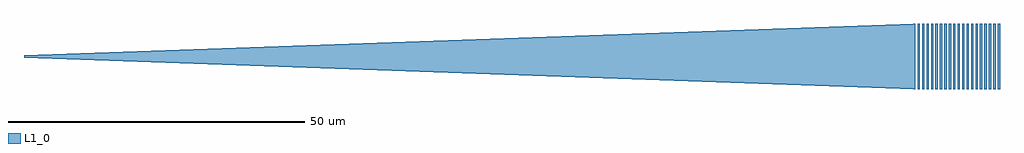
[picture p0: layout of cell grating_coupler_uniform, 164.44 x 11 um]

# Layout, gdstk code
import gdstk
lib = gdstk.Library(unit=1e-6, precision=1e-09)
def R(c, l, rs):  # rectangles x0, y0, x1, y1
    for r in rs: c.add(gdstk.rectangle(r[:2], r[2:], *l))
def P(c, l, *ps):  # polygons
    for p in ps: c.add(gdstk.Polygon(p, *l))
L1_0 = (1, 0)

taper_layer1_0_length15_ = lib.new_cell('taper_layer1_0_length15_20a1ddb0')
P(taper_layer1_0_length15_, L1_0, [(0,0.25),(150,5.5),(150,-5.5),(0,-0.25)])

rectangle_layer1_0_size3 = lib.new_cell('rectangle_layer1_0_size375n_11')
R(rectangle_layer1_0_size3, L1_0, [(0,0,0.375,11)])

grating_coupler_uniform = lib.new_cell('grating_coupler_uniform')
grating_coupler_uniform.add(gdstk.Reference(taper_layer1_0_length15_, (0,0)))
grating_coupler_uniform.add(gdstk.Reference(rectangle_layer1_0_size3, (149.812,-5.5)))
grating_coupler_uniform.add(gdstk.Reference(rectangle_layer1_0_size3, (150.562,-5.5)))
grating_coupler_uniform.add(gdstk.Reference(rectangle_layer1_0_size3, (151.312,-5.5)))
grating_coupler_uniform.add(gdstk.Reference(rectangle_layer1_0_size3, (152.062,-5.5)))
grating_coupler_uniform.add(gdstk.Reference(rectangle_layer1_0_size3, (152.812,-5.5)))
grating_coupler_uniform.add(gdstk.Reference(rectangle_layer1_0_size3, (153.562,-5.5)))
grating_coupler_uniform.add(gdstk.Reference(rectangle_layer1_0_size3, (154.312,-5.5)))
grating_coupler_uniform.add(gdstk.Reference(rectangle_layer1_0_size3, (155.062,-5.5)))
grating_coupler_uniform.add(gdstk.Reference(rectangle_layer1_0_size3, (155.812,-5.5)))
grating_coupler_uniform.add(gdstk.Reference(rectangle_layer1_0_size3, (156.562,-5.5)))
grating_coupler_uniform.add(gdstk.Reference(rectangle_layer1_0_size3, (157.312,-5.5)))
grating_coupler_uniform.add(gdstk.Reference(rectangle_layer1_0_size3, (158.062,-5.5)))
grating_coupler_uniform.add(gdstk.Reference(rectangle_layer1_0_size3, (158.812,-5.5)))
grating_coupler_uniform.add(gdstk.Reference(rectangle_layer1_0_size3, (159.562,-5.5)))
grating_coupler_uniform.add(gdstk.Reference(rectangle_layer1_0_size3, (160.312,-5.5)))
grating_coupler_uniform.add(gdstk.Reference(rectangle_layer1_0_size3, (161.062,-5.5)))
grating_coupler_uniform.add(gdstk.Reference(rectangle_layer1_0_size3, (161.812,-5.5)))
grating_coupler_uniform.add(gdstk.Reference(rectangle_layer1_0_size3, (162.562,-5.5)))
grating_coupler_uniform.add(gdstk.Reference(rectangle_layer1_0_size3, (163.312,-5.5)))
grating_coupler_uniform.add(gdstk.Reference(rectangle_layer1_0_size3, (164.062,-5.5)))

lib.write_gds('grating_coupler_uniform.gds')
